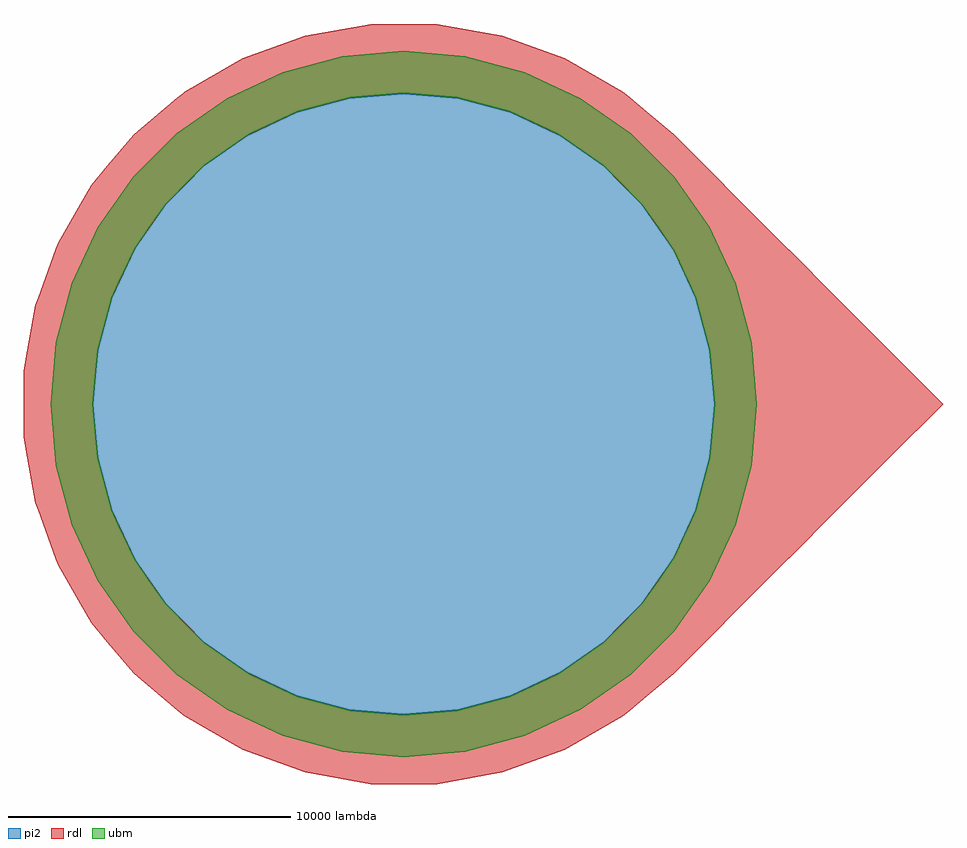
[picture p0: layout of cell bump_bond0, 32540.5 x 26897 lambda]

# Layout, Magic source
magic
tech micross
magscale 1 2
<< rdl >>
tri -6988 26080 -2353 26897 se
rect -2353 26080 2353 26897
tri 2353 26080 6988 26897 sw
tri -11411 24470 -6988 26080 se
rect -6988 24470 6988 26080
tri 6988 24470 11411 26080 sw
tri -15487 22117 -11411 24470 se
rect -11411 22117 11411 24470
tri 11411 22117 15487 24470 sw
tri -15626 22000 -15487 22117 se
rect -15487 22000 15487 22117
tri 15487 22000 15626 22117 sw
tri -16024 21666 -15626 22000 se
rect -15626 21666 -3820 22000
tri -3820 21666 0 22000 nw
tri 0 21666 3820 22000 ne
rect 3820 21666 15626 22000
tri 15626 21666 16024 22000 sw
tri -17208 20673 -16024 21666 se
rect -16024 20673 -7524 21666
tri -7524 20673 -3820 21666 nw
tri 3820 20673 7524 21666 ne
rect 7524 20673 16024 21666
tri 16024 20673 17207 21666 sw
tri -19092 19092 -17208 20673 se
rect -17208 19092 -10916 20673
tri -10916 19092 -7524 20673 nw
tri 7524 19092 10916 20673 ne
rect 10916 19092 17207 20673
tri 17207 19092 19092 20673 sw
tri -19125 19053 -19092 19092 se
rect -19092 19053 -11000 19092
tri -11000 19053 -10916 19092 nw
tri 10916 19053 11000 19092 ne
rect 11000 19053 19092 19092
tri 19092 19053 19131 19092 sw
tri -20971 16853 -19125 19053 se
rect -19125 16853 -14141 19053
tri -14141 16853 -11000 19053 nw
tri 11000 16853 14141 19053 ne
rect 14141 16853 19131 19053
tri 19131 16853 21331 19053 sw
tri -22117 15487 -20971 16853 se
rect -20971 15487 -15507 16853
tri -15507 15487 -14141 16853 nw
tri 14141 15487 15507 16853 ne
rect 15507 15487 21331 16853
tri -22894 14141 -22117 15487 se
rect -22117 14141 -16853 15487
tri -16853 14141 -15507 15487 nw
tri 15507 14141 16853 15487 ne
rect 16853 14141 21331 15487
tri 21331 14141 24043 16853 sw
tri -24470 11411 -22894 14141 se
rect -22894 11411 -18765 14141
tri -18765 11411 -16853 14141 nw
tri 16853 11411 18765 14141 ne
rect 18765 11411 24043 14141
tri -24620 11000 -24470 11411 se
rect -24470 11000 -19053 11411
tri -19053 11000 -18765 11411 nw
tri 18765 11000 19053 11411 ne
rect 19053 11000 24043 11411
tri 24043 11000 27184 14141 sw
tri -25885 7524 -24620 10999 se
rect -24620 7524 -20673 11000
tri -20673 7524 -19053 11000 nw
tri 19053 10916 19092 11000 ne
rect 19092 10916 27184 11000
tri 27184 10916 27268 11000 sw
tri 19092 7524 20673 10916 ne
rect 20673 7524 27268 10916
tri 27268 7524 30660 10916 sw
tri -26080 6988 -25885 7524 se
rect -25885 6988 -20817 7524
tri -20817 6988 -20673 7524 nw
tri -26638 3822 -26080 6988 se
rect -26080 3822 -21666 6988
rect -26638 3820 -21666 3822
tri -21666 3820 -20817 6988 nw
tri 20673 3820 21666 7524 ne
rect 21666 3820 30660 7524
tri 30660 3820 34364 7524 sw
tri -26897 2353 -26638 3820 se
rect -26638 2353 -21794 3820
tri -21794 2353 -21666 3820 nw
rect -26897 -2353 -22000 2353
tri -22000 0 -21794 2353 nw
tri -22000 -2353 -21794 0 sw
tri 21666 0 22000 3820 ne
tri -26897 -3817 -26639 -2353 ne
rect -26639 -3820 -21794 -2353
tri -21794 -3820 -21666 -2353 sw
tri 21666 -3820 22000 0 se
rect 22000 -3820 34364 3820
tri 34364 0 38184 3820 sw
tri 34364 -3820 38184 0 nw
tri -26639 -6988 -26080 -3820 ne
rect -26080 -6988 -21666 -3820
tri -21666 -6988 -20817 -3820 sw
tri -26080 -7524 -25885 -6988 ne
rect -25885 -7524 -20817 -6988
tri -20817 -7524 -20673 -6988 sw
tri 20673 -7524 21666 -3820 se
rect 21666 -7524 30660 -3820
tri 30660 -7524 34364 -3820 nw
tri -25885 -10999 -24620 -7524 ne
rect -24620 -11000 -20673 -7524
tri -20673 -11000 -19053 -7524 sw
tri 19092 -10916 20673 -7524 se
rect 20673 -10916 27268 -7524
tri 27268 -10916 30660 -7524 nw
tri 19053 -11000 19092 -10916 se
rect 19092 -11000 27184 -10916
tri 27184 -11000 27268 -10916 nw
tri -24620 -11411 -24470 -11000 ne
rect -24470 -11411 -19053 -11000
tri -19053 -11411 -18765 -11000 sw
tri 18765 -11411 19053 -11000 se
rect 19053 -11411 24043 -11000
tri -24470 -14140 -22895 -11411 ne
rect -22895 -14141 -18765 -11411
tri -18765 -14141 -16853 -11411 sw
tri 16853 -14141 18765 -11411 se
rect 18765 -14141 24043 -11411
tri 24043 -14141 27184 -11000 nw
tri -22895 -15487 -22117 -14141 ne
rect -22117 -15487 -16853 -14141
tri -16853 -15487 -15507 -14141 sw
tri 15507 -15487 16853 -14141 se
rect 16853 -15487 21331 -14141
tri -22117 -16853 -20971 -15487 ne
rect -20971 -16853 -15507 -15487
tri -15507 -16853 -14141 -15487 sw
tri 14141 -16853 15507 -15487 se
rect 15507 -16853 21331 -15487
tri 21331 -16853 24043 -14141 nw
tri -20971 -19053 -19125 -16853 ne
rect -19125 -19053 -14141 -16853
tri -14141 -19053 -11000 -16853 sw
tri 11000 -19053 14141 -16853 se
rect 14141 -19053 19131 -16853
tri 19131 -19053 21331 -16853 nw
tri -19125 -19092 -19092 -19053 ne
rect -19092 -19092 -11000 -19053
tri -11000 -19092 -10916 -19053 sw
tri 10916 -19092 11000 -19053 se
rect 11000 -19092 19092 -19053
tri 19092 -19092 19131 -19053 nw
tri -19092 -20673 -17208 -19092 ne
rect -17208 -20673 -10916 -19092
tri -10916 -20673 -7524 -19092 sw
tri 7524 -20673 10916 -19092 se
rect 10916 -20673 17208 -19092
tri 17208 -20673 19092 -19092 nw
tri -17208 -21666 -16025 -20673 ne
rect -16025 -21666 -7524 -20673
tri -7524 -21666 -3820 -20673 sw
tri 3820 -21666 7524 -20673 se
rect 7524 -21666 16024 -20673
tri 16024 -21666 17208 -20673 nw
tri -16025 -22000 -15627 -21666 ne
rect -15627 -22000 -3820 -21666
tri -3820 -22000 0 -21666 sw
tri 0 -22000 3820 -21666 se
rect 3820 -22000 15626 -21666
tri 15626 -22000 16024 -21666 nw
tri -15627 -22117 -15487 -22000 ne
rect -15487 -22117 15487 -22000
tri 15487 -22117 15626 -22000 nw
tri -15487 -24470 -11411 -22117 ne
rect -11411 -24470 11411 -22117
tri 11411 -24470 15487 -22117 nw
tri -11411 -26080 -6988 -24470 ne
rect -6988 -26080 6988 -24470
tri 6988 -26080 11411 -24470 nw
tri -6988 -26897 -2353 -26080 ne
rect -2353 -26897 2353 -26080
tri 2353 -26897 6988 -26080 nw
<< pi2 >>
tri -3820 21666 0 22000 se
tri 0 21666 3820 22000 sw
tri -7524 20673 -3820 21666 se
rect -3820 20673 3820 21666
tri 3820 20673 7524 21666 sw
tri -10916 19092 -7524 20673 se
rect -7524 19092 7524 20673
tri 7524 19092 10916 20673 sw
tri -11000 19053 -10916 19092 se
rect -10916 19053 10916 19092
tri 10916 19053 11000 19092 sw
tri -14141 16853 -11000 19053 se
rect -11000 16853 11000 19053
tri 11000 16853 14141 19053 sw
tri -15507 15487 -14141 16853 se
rect -14141 15487 14141 16853
tri 14141 15487 15507 16853 sw
tri -16853 14141 -15507 15487 se
rect -15507 14141 15507 15487
tri 15507 14141 16853 15487 sw
tri -18765 11411 -16853 14141 se
rect -16853 11411 16853 14141
tri 16853 11411 18765 14141 sw
tri -19053 11000 -18765 11411 se
rect -18765 11000 18765 11411
tri 18765 11000 19053 11411 sw
tri -20673 7524 -19053 11000 se
rect -19053 10916 19053 11000
tri 19053 10916 19092 11000 sw
rect -19053 7524 19092 10916
tri 19092 7524 20673 10916 sw
tri -20817 6988 -20673 7524 se
rect -20673 6988 20673 7524
tri -21666 3820 -20817 6988 se
rect -20817 3820 20673 6988
tri 20673 3820 21666 7524 sw
tri -21794 2353 -21666 3820 se
rect -21666 2353 21666 3820
tri -22000 0 -21794 2353 se
tri -22000 -2353 -21794 0 ne
rect -21794 -2353 21666 2353
tri 21666 0 22000 3820 sw
tri -21794 -3820 -21666 -2353 ne
rect -21666 -3820 21666 -2353
tri 21666 -3820 22000 0 nw
tri -21666 -6988 -20817 -3820 ne
rect -20817 -6988 20673 -3820
tri -20817 -7524 -20673 -6988 ne
rect -20673 -7524 20673 -6988
tri 20673 -7524 21666 -3820 nw
tri -20673 -11000 -19053 -7524 ne
rect -19053 -10916 19092 -7524
tri 19092 -10916 20673 -7524 nw
rect -19053 -11000 19053 -10916
tri 19053 -11000 19092 -10916 nw
tri -19053 -11411 -18765 -11000 ne
rect -18765 -11411 18765 -11000
tri 18765 -11411 19053 -11000 nw
tri -18765 -14141 -16853 -11411 ne
rect -16853 -14141 16853 -11411
tri 16853 -14141 18765 -11411 nw
tri -16853 -15487 -15507 -14141 ne
rect -15507 -15487 15507 -14141
tri 15507 -15487 16853 -14141 nw
tri -15507 -16853 -14141 -15487 ne
rect -14141 -16853 14141 -15487
tri 14141 -16853 15507 -15487 nw
tri -14141 -19053 -11000 -16853 ne
rect -11000 -19053 11000 -16853
tri 11000 -19053 14141 -16853 nw
tri -11000 -19092 -10916 -19053 ne
rect -10916 -19092 10916 -19053
tri 10916 -19092 11000 -19053 nw
tri -10916 -20673 -7524 -19092 ne
rect -7524 -20673 7524 -19092
tri 7524 -20673 10916 -19092 nw
tri -7524 -21666 -3820 -20673 ne
rect -3820 -21666 3820 -20673
tri 3820 -21666 7524 -20673 nw
tri -3820 -22000 0 -21666 ne
tri 0 -22000 3820 -21666 nw
<< ubm >>
tri -4341 24620 0 25000 se
tri 0 24620 4341 25000 sw
tri -8551 23492 -4341 24620 se
rect -4341 23492 4341 24620
tri 4341 23492 8551 24620 sw
tri -12500 21651 -8551 23492 se
rect -8551 22000 8551 23492
rect -8551 21666 -3820 22000
tri -3820 21666 0 22000 nw
tri 0 21666 3820 22000 ne
rect 3820 21666 8551 22000
rect -8551 21651 -3876 21666
tri -3876 21651 -3820 21666 nw
tri 3820 21651 3875 21666 ne
rect 3875 21651 8551 21666
tri 8551 21651 12500 23492 sw
tri -16070 19151 -12500 21651 se
rect -12500 20673 -7524 21651
tri -7524 20673 -3876 21651 nw
tri 3875 20673 7524 21651 ne
rect 7524 20673 12500 21651
rect -12500 19151 -10790 20673
tri -10790 19151 -7524 20673 nw
tri 7524 19151 10789 20673 ne
rect 10789 19151 12500 20673
tri 12500 19151 16070 21651 sw
tri -18368 16853 -16070 19151 se
rect -16070 19053 -11000 19151
tri -11000 19053 -10790 19151 nw
tri 10789 19053 11000 19151 ne
rect 11000 19053 16070 19151
rect -16070 16853 -14141 19053
tri -14141 16853 -11000 19053 nw
tri 11000 16853 14141 19053 ne
rect 14141 16853 16070 19053
tri 16070 16853 18368 19151 sw
tri -19151 16070 -18368 16853 se
rect -18368 16070 -14924 16853
tri -14924 16070 -14141 16853 nw
tri 14141 16070 14924 16853 ne
rect 14924 16070 18368 16853
tri 18368 16070 19151 16853 sw
tri -21651 12500 -19151 16070 se
rect -19151 14141 -16853 16070
tri -16853 14141 -14924 16070 nw
tri 14924 14141 16853 16070 ne
rect 16853 14141 19151 16070
rect -19151 12500 -18002 14141
tri -18002 12501 -16853 14141 nw
tri 16853 12500 18002 14141 ne
rect 18002 12500 19151 14141
tri 19151 12500 21651 16070 sw
tri -23492 8551 -21651 12500 se
rect -21651 11000 -19053 12500
tri -19053 11000 -18002 12500 nw
tri 18002 11000 19053 12500 ne
rect 19053 11000 21651 12500
rect -21651 8551 -20194 11000
tri -20194 8552 -19053 11000 nw
tri 19053 8551 20194 11000 ne
rect 20194 8551 21651 11000
tri 21651 8551 23492 12500 sw
tri -24620 4341 -23492 8551 se
rect -23492 7524 -20673 8551
tri -20673 7524 -20194 8551 nw
tri 20194 7524 20673 8551 ne
rect 20673 7524 23492 8551
rect -23492 4341 -21526 7524
tri -21526 4342 -20673 7524 nw
tri 20673 4342 21526 7524 ne
tri -25000 0 -24620 4341 se
rect -24620 3820 -21666 4341
tri -21666 3820 -21526 4341 nw
rect 21526 4341 23492 7524
tri 23492 4341 24620 8551 sw
tri 21526 3820 21666 4341 ne
rect 21666 3820 24620 4341
tri -25000 -4341 -24620 0 ne
rect -24620 -3820 -22000 3820
tri -22000 0 -21666 3820 nw
tri -22000 -3820 -21666 0 sw
tri 21666 0 22000 3820 ne
tri 21666 -3820 22000 0 se
rect 22000 -3820 24620 3820
tri 24620 0 25000 4341 sw
rect -24620 -4339 -21666 -3820
tri -21666 -4339 -21527 -3820 sw
rect -24620 -4341 -21527 -4339
tri 21526 -4341 21666 -3820 se
rect 21666 -4341 24620 -3820
tri 24620 -4341 25000 0 nw
tri -24620 -8551 -23492 -4341 ne
rect -23492 -7524 -21527 -4341
tri -21527 -7524 -20673 -4341 sw
tri 20673 -7524 21526 -4342 se
rect 21526 -7524 23492 -4341
rect -23492 -8550 -20673 -7524
tri -20673 -8550 -20195 -7524 sw
rect -23492 -8551 -20195 -8550
tri 20194 -8551 20673 -7524 se
rect 20673 -8551 23492 -7524
tri 23492 -8551 24620 -4341 nw
tri -23492 -12500 -21651 -8551 ne
rect -21651 -11000 -20195 -8551
tri -20195 -11000 -19053 -8551 sw
tri 19053 -11000 20194 -8552 se
rect 20194 -11000 21651 -8551
rect -21651 -12500 -19053 -11000
tri -19053 -12500 -18003 -11000 sw
tri 18002 -12500 19053 -11000 se
rect 19053 -12500 21651 -11000
tri 21651 -12500 23492 -8551 nw
tri -21651 -16070 -19151 -12500 ne
rect -19151 -14141 -18003 -12500
tri -18003 -14141 -16853 -12500 sw
tri 16853 -14141 18002 -12501 se
rect 18002 -14141 19151 -12500
rect -19151 -16070 -16853 -14141
tri -16853 -16070 -14924 -14141 sw
tri 14924 -16070 16853 -14141 se
rect 16853 -16070 19151 -14141
tri 19151 -16070 21651 -12500 nw
tri -19151 -16853 -18368 -16070 ne
rect -18368 -16853 -14924 -16070
tri -14924 -16853 -14141 -16070 sw
tri 14141 -16853 14924 -16070 se
rect 14924 -16853 18368 -16070
tri 18368 -16853 19151 -16070 nw
tri -18368 -19151 -16070 -16853 ne
rect -16070 -19053 -14141 -16853
tri -14141 -19053 -11000 -16853 sw
tri 11000 -19053 14141 -16853 se
rect 14141 -19053 16070 -16853
rect -16070 -19151 -11000 -19053
tri -11000 -19151 -10790 -19053 sw
tri 10790 -19151 11000 -19053 se
rect 11000 -19151 16070 -19053
tri 16070 -19151 18368 -16853 nw
tri -16070 -21651 -12500 -19151 ne
rect -12500 -20673 -10790 -19151
tri -10790 -20673 -7524 -19151 sw
tri 7524 -20673 10790 -19151 se
rect 10790 -20673 12500 -19151
rect -12500 -21651 -7524 -20673
tri -7524 -21651 -3876 -20673 sw
tri 3876 -21651 7524 -20673 se
rect 7524 -21651 12500 -20673
tri 12500 -21651 16070 -19151 nw
tri -12500 -23492 -8551 -21651 ne
rect -8551 -21666 -3876 -21651
tri -3876 -21666 -3820 -21651 sw
tri 3820 -21666 3876 -21651 se
rect 3876 -21666 8551 -21651
rect -8551 -22000 -3820 -21666
tri -3820 -22000 0 -21666 sw
tri 0 -22000 3820 -21666 se
rect 3820 -22000 8551 -21666
rect -8551 -23492 8551 -22000
tri 8551 -23492 12500 -21651 nw
tri -8551 -24620 -4341 -23492 ne
rect -4341 -24620 4341 -23492
tri 4341 -24620 8551 -23492 nw
tri -4341 -25000 0 -24620 ne
tri 0 -25000 4341 -24620 nw
<< properties >>
string FIXED_BBOX -27000 -27000 27000 27000
<< end >>
